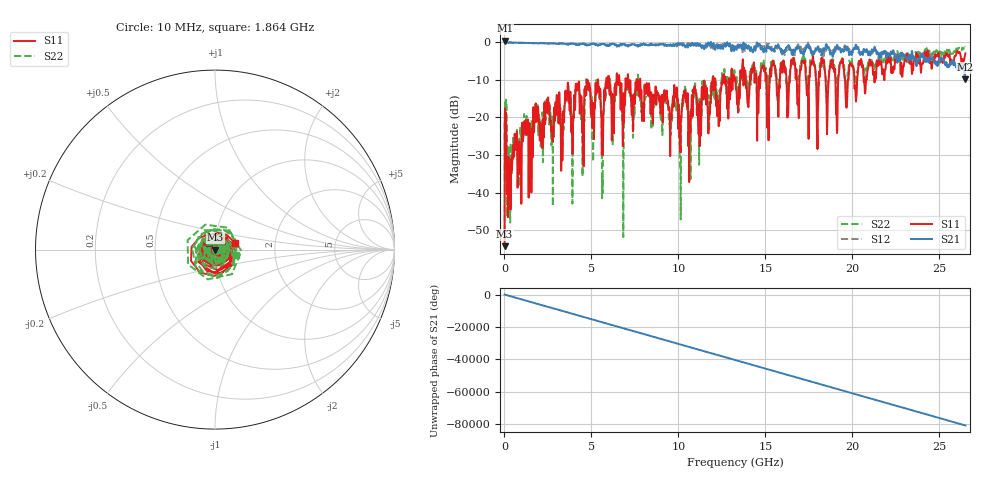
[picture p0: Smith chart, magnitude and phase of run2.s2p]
!Keysight Technologies,N5222A,MY51421047,A.10.65.16
!Date: Friday, September 25, 2026 13:57:24
!Correction: S11(Full 2 Port(1,2))
!S21(Full 2 Port(1,2))
!S12(Full 2 Port(1,2))
!S22(Full 2 Port(1,2))
!S2P File: Measurements: S11, S21, S12, S22:
# Hz S  RI  R 50
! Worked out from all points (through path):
!   3201 points, 10 MHz to 26.5 GHz, reference 50 ohm
!   highest |S21| = 0.39 dB at 34.83 MHz (marker M1); lowest = -9.9 dB at 26.5 GHz (marker M2)
!   lowest |S11| = -54.2 dB at 10 MHz (marker M3), VSWR 1.00, Z = 50.2 - j0.0843 ohm
!   |S11| at or under -10 dB: start of sweep to 5.373 GHz; 7.118 GHz to 7.598 GHz (479.5 MHz wide, 6.52 % of centre); 7.811 GHz to 11.96 GHz (4.154 GHz wide, 42 % of centre)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
!   |S22| runs from -51.8 to -0.9 dB; largest |S21 - S12| = 0.22
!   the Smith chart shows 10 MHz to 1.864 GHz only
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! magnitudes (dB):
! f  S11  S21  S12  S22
! 10 MHz  -54.2  0.0  0.0  -50.6
! 34.83 MHz  -17.6  0.4  0.4  -16.0
! 1.79 GHz  -16.7  -0.4  -0.3  -19.5
! 4.431 GHz  -14.8  -0.6  -0.5  -16.7
! 4.795 GHz  -10.2  -0.8  -0.8  -10.8
! 5.598 GHz  -30.0  -0.5  -0.5  -26.3
! 5.954 GHz  -9.1  -1.0  -0.8  -10.3
! 6.227 GHz  -19.9  -0.5  -0.5  -27.4
! 6.508 GHz  -9.4  -1.0  -1.0  -10.3
! 6.798 GHz  -24.3  -0.5  -0.6  -20.3
! 7.08 GHz  -9.9  -1.0  -0.8  -12.8
! 8.843 GHz  -13.7  -0.9  -0.6  -15.1
! 9.861 GHz  -14.7  -0.5  -0.7  -16.9
! 10.08 GHz  -23.1  -0.7  -0.6  -31.1
! 10.35 GHz  -13.7  -0.9  -0.8  -13.9
! 10.66 GHz  -20.4  -0.6  -0.4  -19.0
! 13.26 GHz  -9.8  -1.3  -1.3  -9.1
! 17.68 GHz  -5.6  -2.8  -2.6  -5.8
! 19.1 GHz  -20.0  -1.1  -1.0  -12.2
! 19.37 GHz  -5.4  -2.6  -2.5  -4.8
! 22.09 GHz  -3.8  -3.2  -2.8  -3.4
! 26.5 GHz  -3.0  -9.9  -9.9  -1.3
